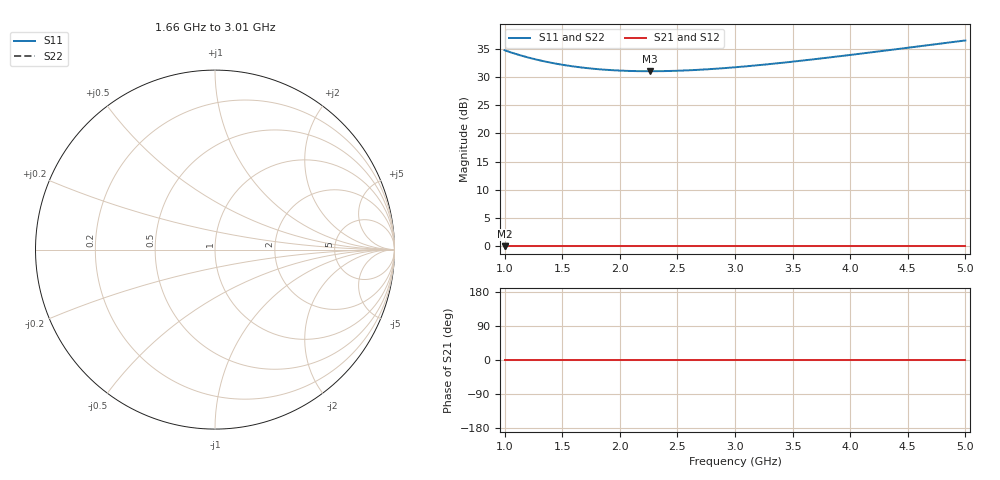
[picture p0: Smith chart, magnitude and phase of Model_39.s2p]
# GHZ S RI R 50
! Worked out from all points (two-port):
!   401 points, 1 GHz to 5 GHz, reference 50 ohm
!   highest |S21| = 0.00 dB at 1 GHz (marker M1); lowest = 0.0 dB at 1 GHz (marker M2)
!   |S21| within 3 dB of the highest: start of sweep to end of sweep
!   lowest |S11| = 31.0 dB at 2.26 GHz (marker M3)
!   |S11| at or under -10 dB: nowhere
!   |S22| runs from 31.0 to 36.5 dB; largest |S21 - S12| = 0
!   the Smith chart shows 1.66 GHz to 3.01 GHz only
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1  54.69 0  1 0  1 0  54.69 0
1.15  48.83 0  1 0  1 0  48.83 0
1.22  46.69 0  1 0  1 0  46.69 0
1.3  44.59 0  1 0  1 0  44.59 0
1.38  42.81 0  1 0  1 0  42.81 0
1.47  41.14 0  1 0  1 0  41.14 0
1.57  39.62 0  1 0  1 0  39.62 0
1.67  38.41 0  1 0  1 0  38.41 0
1.81  37.14 0  1 0  1 0  37.14 0
1.95  36.3 0  1 0  1 0  36.3 0
2.1  35.78 0  1 0  1 0  35.78 0
2.26  35.6 0  1 0  1 0  35.6 0
2.34  35.64 0  1 0  1 0  35.64 0
2.5  35.96 0  1 0  1 0  35.96 0
2.66  36.55 0  1 0  1 0  36.55 0
3  38.6 0  1 0  1 0  38.6 0
3.33  41.49 0  1 0  1 0  41.49 0
3.67  45.28 0  1 0  1 0  45.28 0
4  49.66 0  1 0  1 0  49.66 0
4.34  54.86 0  1 0  1 0  54.86 0
4.63  59.8 0  1 0  1 0  59.8 0
5  66.77 0  1 0  1 0  66.77 0
